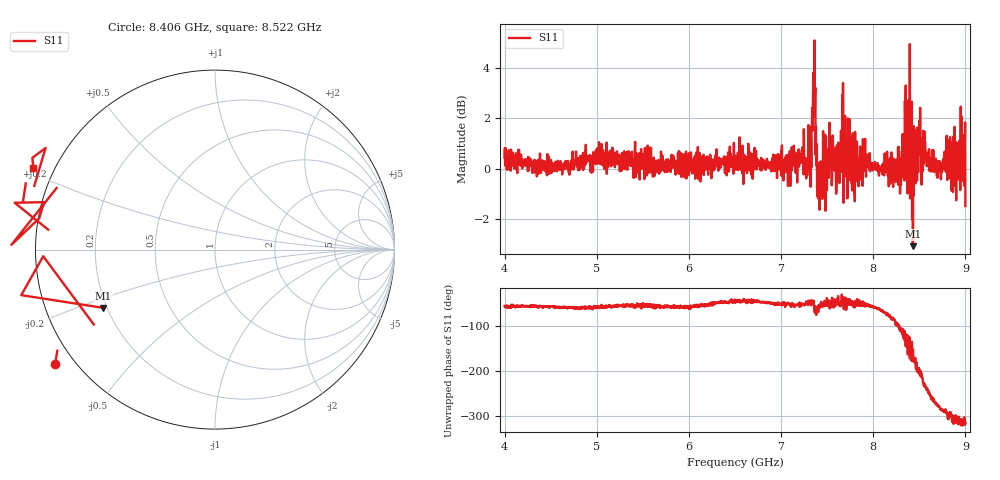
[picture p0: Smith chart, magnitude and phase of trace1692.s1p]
! Created with skrf 1.8.0 (http://scikit-rf.org).
# Hz S RI R 50.0
!freq ReS11 ImS11
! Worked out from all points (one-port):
!   1601 points, 4 GHz to 9 GHz, reference 50 ohm
!   lowest |S11| = -3.1 dB at 8.431 GHz (marker M1), VSWR 5.72, Z = 9.26 - j11.9 ohm
!   |S11| at or under -10 dB: nowhere
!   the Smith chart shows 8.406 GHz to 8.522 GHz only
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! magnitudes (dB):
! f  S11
! 4 GHz  0.4
! 4.625 GHz  -0.2
! 5.25 GHz  -0.1
! 5.875 GHz  0.2
! 6.5 GHz  0.1
! 7.125 GHz  0.7
! 7.294 GHz  0.0
! 7.356 GHz  3.4
! 7.369 GHz  3.0
! 7.4 GHz  -0.7
! 7.422 GHz  -1.2
! 7.509 GHz  -0.2
! 7.622 GHz  1.0
! 7.669 GHz  1.3
! 7.75 GHz  0.3
! 7.784 GHz  -0.1
! 7.891 GHz  0.5
! 8.284 GHz  0.5
! 8.316 GHz  0.1
! 8.328 GHz  0.6
! 8.375 GHz  -0.7
! 8.431 GHz  -3.1
! 8.497 GHz  0.8
! 8.712 GHz  0.2
! 8.875 GHz  0.3
! 8.956 GHz  -0.3
! 8.972 GHz  0.5
! 9 GHz  -1.5
